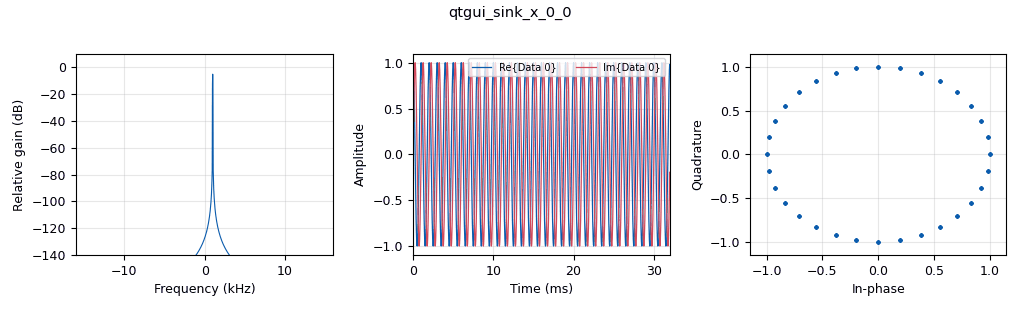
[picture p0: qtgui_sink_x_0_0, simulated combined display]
options:
  parameters:
    generate_options: qt_gui
    id: Lesson_1
    output_language: python
    title: Lesson_1
  states: {}

blocks:
- name: samp_rate
  id: variable
  parameters:
    value: 32e3
  states: {}
- name: analog_sig_source_x_0
  id: analog_sig_source_x
  parameters:
    amp: '1'
    freq: '1000'
    offset: '0'
    phase: '0'
    samp_rate: samp_rate
    type: complex
    waveform: analog.GR_COS_WAVE
  states: {}
- name: blocks_throttle2_0
  id: blocks_throttle2
  parameters:
    samples_per_second: samp_rate
    type: complex
  states: {}
- name: qtgui_sink_x_0_0
  id: qtgui_sink_x
  parameters:
    bw: samp_rate
    fc: '0'
    fftsize: '1024'
    showrf: 'True'
    type: complex
    wintype: window.WIN_HAMMING
  states: {}

connections:
- [analog_sig_source_x_0, '0', blocks_throttle2_0, '0']
- [blocks_throttle2_0, '0', qtgui_sink_x_0_0, '0']

metadata:
  file_format: 1
  grc_version: v3.11.0.0git-843-g6b25c171
